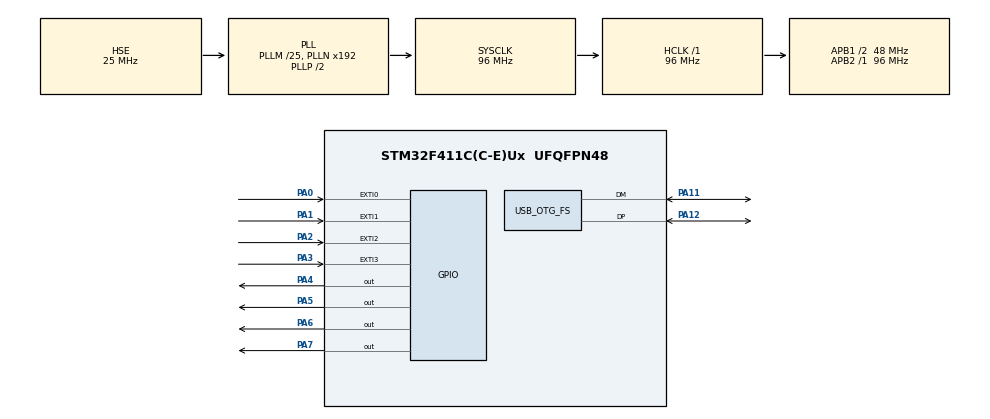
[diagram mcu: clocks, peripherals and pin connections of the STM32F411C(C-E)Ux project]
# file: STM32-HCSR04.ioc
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Mcu.Family=STM32F4
Mcu.Name=STM32F411C(C-E)Ux
Mcu.Package=UFQFPN48
NVIC.EXTI0_IRQn=true\:0\:0\:false\:false\:true\:true\:true\:true
NVIC.EXTI1_IRQn=true\:0\:0\:false\:false\:true\:true\:true\:true
NVIC.EXTI2_IRQn=true\:0\:0\:false\:false\:true\:true\:true\:true
NVIC.EXTI3_IRQn=true\:0\:0\:false\:false\:true\:true\:true\:true
NVIC.OTG_FS_IRQn=true\:0\:0\:false\:false\:true\:false\:true\:true
NVIC.PriorityGroup=NVIC_PRIORITYGROUP_4
PA0-WKUP.GPIO_ModeDefaultEXTI=GPIO_MODE_IT_RISING_FALLING
PA0-WKUP.Signal=GPXTI0
PA1.GPIO_ModeDefaultEXTI=GPIO_MODE_IT_RISING_FALLING
PA1.Signal=GPXTI1
PA11.Mode=Device_Only
PA11.Signal=USB_OTG_FS_DM
PA12.Mode=Device_Only
PA12.Signal=USB_OTG_FS_DP
PA2.GPIO_ModeDefaultEXTI=GPIO_MODE_IT_RISING_FALLING
PA2.Signal=GPXTI2
PA3.GPIO_ModeDefaultEXTI=GPIO_MODE_IT_RISING_FALLING
PA3.Signal=GPXTI3
PA4.Signal=GPIO_Output
PA5.Signal=GPIO_Output
PA6.Signal=GPIO_Output
PA7.Signal=GPIO_Output
PC14-OSC32_IN.Mode=LSE-External-Oscillator
PC14-OSC32_IN.Signal=RCC_OSC32_IN
PC15-OSC32_OUT.Mode=LSE-External-Oscillator
PC15-OSC32_OUT.Signal=RCC_OSC32_OUT
PH0\ -\ OSC_IN.Mode=HSE-External-Oscillator
PH0\ -\ OSC_IN.Signal=RCC_OSC_IN
PH1\ -\ OSC_OUT.Mode=HSE-External-Oscillator
PH1\ -\ OSC_OUT.Signal=RCC_OSC_OUT
ProjectManager.HeapSize=0x200
ProjectManager.StackSize=0x400
ProjectManager.TargetToolchain=STM32CubeIDE
RCC.48MHZClocksFreq_Value=48000000
RCC.AHBFreq_Value=96000000
RCC.APB1CLKDivider=RCC_HCLK_DIV2
RCC.APB1Freq_Value=48000000
RCC.APB1TimFreq_Value=96000000
RCC.APB2Freq_Value=96000000
RCC.APB2TimFreq_Value=96000000
RCC.CortexFreq_Value=96000000
RCC.HCLKFreq_Value=96000000
RCC.HSE_VALUE=25000000
RCC.HSI_VALUE=16000000
RCC.PLLM=25
RCC.SYSCLKFreq_VALUE=96000000
RCC.SYSCLKSource=RCC_SYSCLKSOURCE_PLLCLK
RCC.VCOOutputFreq_Value=192000000
TIM2.Prescaler=96-1
USB_DEVICE.CLASS_NAME_FS=CDC
USB_DEVICE.VirtualMode=Cdc
USB_DEVICE.VirtualModeFS=Cdc_FS
USB_OTG_FS.VirtualMode=Device_Only
VP_TIM2_VS_ClockSourceINT.Mode=Internal
VP_USB_DEVICE_VS_USB_DEVICE_CDC_FS.Mode=CDC_FS
board=custom

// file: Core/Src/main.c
/* USER CODE BEGIN Header */
/**
  ******************************************************************************
  * @file           : main.c
  * @brief          : Main program body
  ******************************************************************************
  * @attention
  *
  * Copyright (c) 2023 STMicroelectronics.
  * All rights reserved.
  *
  * This software is licensed under terms that can be found in the LICENSE file
  * in the root directory of this software component.
  * If no LICENSE file comes with this software, it is provided AS-IS.
  *
  ******************************************************************************
  */
/* USER CODE END Header */
#include "main.h"
#include "usb_device.h"

TIM_HandleTypeDef htim2;

/* USER CODE BEGIN PV */
uint32_t pulse_start[4], pulse_end[4], pulse_len[4];
/* USER CODE END PV */

void SystemClock_Config(void);
static void MX_GPIO_Init(void);
static void MX_TIM2_Init(void);
/* USER CODE BEGIN PFP */

uint32_t micros();
void HAL_GPIO_EXTI_Callback(uint16_t GPIO_Pin);
extern uint8_t CDC_Transmit_FS(uint8_t* Buf, uint16_t Len);

/* USER CODE END PFP */

int main(void)
{

  /* MCU Configuration--------------------------------------------------------*/

  /* Reset of all peripherals, Initializes the Flash interface and the Systick. */
  HAL_Init();

  /* Configure the system clock */
  SystemClock_Config();

  /* Initialize all configured peripherals */
  MX_GPIO_Init();
  MX_TIM2_Init();
  MX_USB_DEVICE_Init();

  /* Infinite loop */
  while (1)
  {

  }
}

void SystemClock_Config(void)
{
  RCC_OscInitTypeDef RCC_OscInitStruct = {0};
  RCC_ClkInitTypeDef RCC_ClkInitStruct = {0};

  /** Configure the main internal regulator output voltage
  */
  __HAL_RCC_PWR_CLK_ENABLE();
  __HAL_PWR_VOLTAGESCALING_CONFIG(PWR_REGULATOR_VOLTAGE_SCALE1);

  /** Initializes the RCC Oscillators according to the specified parameters
  * in the RCC_OscInitTypeDef structure.
  */
  RCC_OscInitStruct.OscillatorType = RCC_OSCILLATORTYPE_HSE;
  RCC_OscInitStruct.HSEState = RCC_HSE_ON;
  RCC_OscInitStruct.PLL.PLLState = RCC_PLL_ON;
  RCC_OscInitStruct.PLL.PLLSource = RCC_PLLSOURCE_HSE;
  RCC_OscInitStruct.PLL.PLLM = 25;
  RCC_OscInitStruct.PLL.PLLN = 192;
  RCC_OscInitStruct.PLL.PLLP = RCC_PLLP_DIV2;
  RCC_OscInitStruct.PLL.PLLQ = 4;
  if (HAL_RCC_OscConfig(&RCC_OscInitStruct) != HAL_OK)
  {
    Error_Handler();
  }

  /** Initializes the CPU, AHB and APB buses clocks
  */
  RCC_ClkInitStruct.ClockType = RCC_CLOCKTYPE_HCLK|RCC_CLOCKTYPE_SYSCLK
                              |RCC_CLOCKTYPE_PCLK1|RCC_CLOCKTYPE_PCLK2;
  RCC_ClkInitStruct.SYSCLKSource = RCC_SYSCLKSOURCE_PLLCLK;
  RCC_ClkInitStruct.AHBCLKDivider = RCC_SYSCLK_DIV1;
  RCC_ClkInitStruct.APB1CLKDivider = RCC_HCLK_DIV2;
  RCC_ClkInitStruct.APB2CLKDivider = RCC_HCLK_DIV1;

  if (HAL_RCC_ClockConfig(&RCC_ClkInitStruct, FLASH_LATENCY_3) != HAL_OK)
  {
    Error_Handler();
  }
}

static void MX_TIM2_Init(void)
{

  TIM_ClockConfigTypeDef sClockSourceConfig = {0};
  TIM_MasterConfigTypeDef sMasterConfig = {0};

  htim2.Instance = TIM2;
  htim2.Init.Prescaler = 96-1;
  htim2.Init.CounterMode = TIM_COUNTERMODE_UP;
  htim2.Init.Period = 4294967295;
  htim2.Init.ClockDivision = TIM_CLOCKDIVISION_DIV1;
  htim2.Init.AutoReloadPreload = TIM_AUTORELOAD_PRELOAD_DISABLE;
  if (HAL_TIM_Base_Init(&htim2) != HAL_OK)
  {
    Error_Handler();
  }
  sClockSourceConfig.ClockSource = TIM_CLOCKSOURCE_INTERNAL;
  if (HAL_TIM_ConfigClockSource(&htim2, &sClockSourceConfig) != HAL_OK)
  {
    Error_Handler();
  }
  sMasterConfig.MasterOutputTrigger = TIM_TRGO_RESET;
  sMasterConfig.MasterSlaveMode = TIM_MASTERSLAVEMODE_DISABLE;
  if (HAL_TIMEx_MasterConfigSynchronization(&htim2, &sMasterConfig) != HAL_OK)
  {
    Error_Handler();
  }

}

static void MX_GPIO_Init(void)
{
  GPIO_InitTypeDef GPIO_InitStruct = {0};

  /* GPIO Ports Clock Enable */
  __HAL_RCC_GPIOC_CLK_ENABLE();
  __HAL_RCC_GPIOH_CLK_ENABLE();
  __HAL_RCC_GPIOA_CLK_ENABLE();

  /*Configure GPIO pin Output Level */
  HAL_GPIO_WritePin(GPIOA, GPIO_PIN_4|GPIO_PIN_5|GPIO_PIN_6|GPIO_PIN_7, GPIO_PIN_RESET);

  /*Configure GPIO pins : PA0 PA1 PA2 PA3 */
  GPIO_InitStruct.Pin = GPIO_PIN_0|GPIO_PIN_1|GPIO_PIN_2|GPIO_PIN_3;
  GPIO_InitStruct.Mode = GPIO_MODE_IT_RISING_FALLING;
  GPIO_InitStruct.Pull = GPIO_NOPULL;
  HAL_GPIO_Init(GPIOA, &GPIO_InitStruct);

  /*Configure GPIO pins : PA4 PA5 PA6 PA7 */
  GPIO_InitStruct.Pin = GPIO_PIN_4|GPIO_PIN_5|GPIO_PIN_6|GPIO_PIN_7;
  GPIO_InitStruct.Mode = GPIO_MODE_OUTPUT_PP;
  GPIO_InitStruct.Pull = GPIO_NOPULL;
  GPIO_InitStruct.Speed = GPIO_SPEED_FREQ_LOW;
  HAL_GPIO_Init(GPIOA, &GPIO_InitStruct);

  /* EXTI interrupt init*/
  HAL_NVIC_SetPriority(EXTI0_IRQn, 0, 0);
  HAL_NVIC_EnableIRQ(EXTI0_IRQn);

  HAL_NVIC_SetPriority(EXTI1_IRQn, 0, 0);
  HAL_NVIC_EnableIRQ(EXTI1_IRQn);

  HAL_NVIC_SetPriority(EXTI2_IRQn, 0, 0);
  HAL_NVIC_EnableIRQ(EXTI2_IRQn);

  HAL_NVIC_SetPriority(EXTI3_IRQn, 0, 0);
  HAL_NVIC_EnableIRQ(EXTI3_IRQn);

}

/* USER CODE BEGIN 4 */

uint32_t micros(){
	return TIM2->CNT;
}

void HAL_GPIO_EXTI_Callback(uint16_t GPIO_Pin){
	switch (GPIO_Pin){
	case GPIO_PIN_0:
		if(HAL_GPIO_ReadPin(GPIO_A, GPIO_Pin)){
			pulse_end[0] = micros();
			pulse_len[0] = pulse_end[0] - pulse_start[0];
		}
		else{
			pulse_start[0] = micros();
		}
		break;
	}
}
/* USER CODE END 4 */

void Error_Handler(void)
{
  __disable_irq();
  while (1)
  {
  }
}
